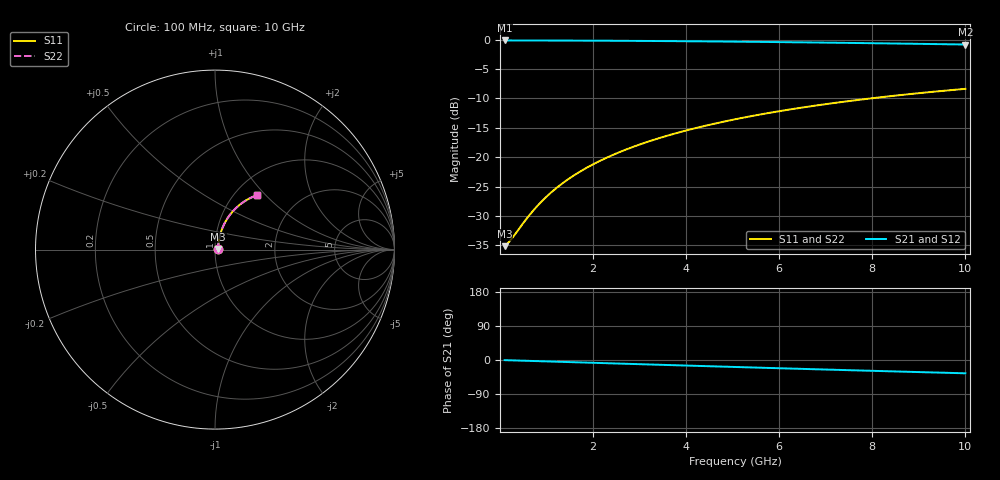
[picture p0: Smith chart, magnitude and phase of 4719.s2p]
# Hz S RI R 50.00
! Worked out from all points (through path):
!   100 points, 100 MHz to 10 GHz, reference 50 ohm
!   highest |S21| = -0.15 dB at 100 MHz (marker M1); lowest = -0.8 dB at 10 GHz (marker M2)
!   group delay of S21, straight-line fit = 9.78 ps
!   lowest |S11| = -35.1 dB at 100 MHz (marker M3), VSWR 1.04, Z = 51.7 + j0.432 ohm
!   |S11| at or under -10 dB: start of sweep to 7.972 GHz
!   |S22| runs from -35.1 to -8.4 dB; largest |S21 - S12| = 0
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1e8  0.017 0.00417  0.983 -0.00634  0.983 -0.00634  0.017 0.00417
2e8  0.0172 0.00834  0.9828 -0.0127  0.9828 -0.0127  0.0172 0.00834
3e8  0.0174 0.0125  0.9826 -0.019  0.9826 -0.019  0.0174 0.0125
5e8  0.018 0.0208  0.982 -0.0317  0.982 -0.0317  0.018 0.0208
7e8  0.0187 0.0291  0.9812 -0.0443  0.9812 -0.0443  0.0187 0.0291
8e8  0.0191 0.0333  0.9807 -0.0507  0.9807 -0.0507  0.0191 0.0333
1e9  0.0202 0.0415  0.9796 -0.0633  0.9796 -0.0633  0.0202 0.0415
1.2e9  0.0214 0.0497  0.9782 -0.0758  0.9782 -0.0758  0.0214 0.0497
1.4e9  0.0229 0.0579  0.9766 -0.0884  0.9766 -0.0884  0.0229 0.0579
1.6e9  0.0245 0.066  0.9748 -0.1008  0.9748 -0.1008  0.0245 0.066
1.8e9  0.0264 0.0741  0.9728 -0.1133  0.9728 -0.1133  0.0264 0.0741
2.1e9  0.0295 0.0861  0.9694 -0.1318  0.9694 -0.1318  0.0295 0.0861
2.5e9  0.0344 0.1019  0.964 -0.1563  0.964 -0.1563  0.0344 0.1019
2.9e9  0.0401 0.1173  0.9578 -0.1804  0.9578 -0.1804  0.0401 0.1173
3.4e9  0.0482 0.1361  0.9489 -0.2101  0.9489 -0.2101  0.0482 0.1361
4.2e9  0.0636 0.1647  0.9321 -0.2562  0.9321 -0.2562  0.0636 0.1647
5.1e9  0.0839 0.1945  0.9098 -0.3057  0.9098 -0.3057  0.0839 0.1945
5.9e9  0.1043 0.2186  0.8872 -0.3474  0.8872 -0.3474  0.1043 0.2186
6.7e9  0.1267 0.2403  0.8623 -0.3868  0.8623 -0.3868  0.1267 0.2403
7.5e9  0.1507 0.2595  0.8356 -0.4236  0.8356 -0.4236  0.1507 0.2595
8.4e9  0.1791 0.2779  0.8035 -0.4619  0.8035 -0.4619  0.1791 0.2779
1e10  0.2322 0.3022  0.743 -0.5219  0.743 -0.5219  0.2322 0.3022
